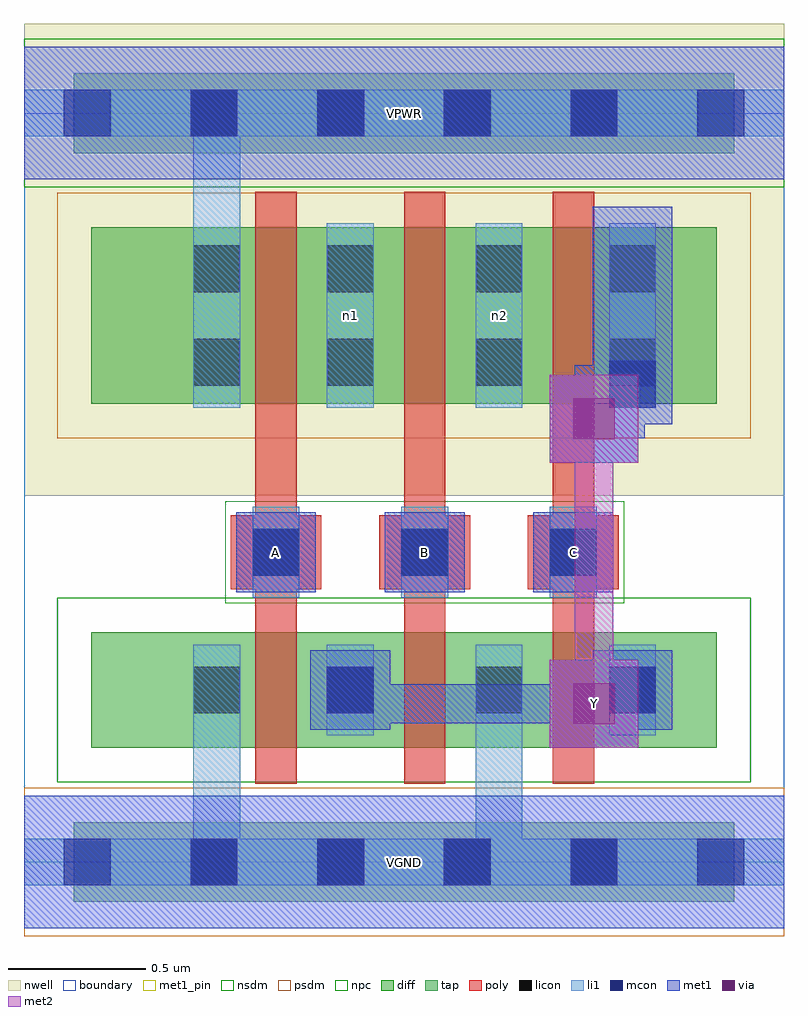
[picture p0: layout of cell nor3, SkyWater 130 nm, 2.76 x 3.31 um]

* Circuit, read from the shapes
.subckt nor3 A B C VGND VPWR Y n1 n2
XM1 Y A VGND VGND sky130_fd_pr__nfet_01v8 w=0.42 l=0.15
XM2 VGND B Y VGND sky130_fd_pr__nfet_01v8 w=0.42 l=0.15
XM3 Y C VGND VGND sky130_fd_pr__nfet_01v8 w=0.42 l=0.15
XM4 n1 A VPWR VPWR sky130_fd_pr__pfet_01v8 w=0.64 l=0.15
XM5 n2 B n1 VPWR sky130_fd_pr__pfet_01v8 w=0.64 l=0.15
XM6 Y C n2 VPWR sky130_fd_pr__pfet_01v8 w=0.64 l=0.15
.ends

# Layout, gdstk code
import gdstk
lib = gdstk.Library(unit=1e-6, precision=1e-09)
def R(c, l, rs):  # rectangles x0, y0, x1, y1
    for r in rs: c.add(gdstk.rectangle(r[:2], r[2:], *l))
def A(c, l, x, y, w, h, nx, ny, dx, dy):  # array of equal rectangles
    R(c, l, [(x+i*dx, y+j*dy, x+i*dx+w, y+j*dy+h) for i in range(nx) for j in range(ny)])
nwell = (64, 20)
diff = (65, 20)
tap = (65, 44)
poly = (66, 20)
licon = (66, 44)
li1 = (67, 20)
mcon = (67, 44)
met1_pin = (68, 16)
met1 = (68, 20)
via = (68, 44)
met2 = (69, 20)
nsdm = (93, 44)
psdm = (94, 20)
npc = (95, 20)
boundary = (235, 4)

nor3 = lib.new_cell('nor3')
R(nor3, nwell, [(0,1.33,2.76,3.045)])
R(nor3, diff, [(0.245,0.415,2.515,0.835), (0.245,1.665,2.515,2.305)])
R(nor3, tap, [(0.18,-0.145,2.58,0.145), (0.18,2.575,2.58,2.865)])
A(nor3, poly, 0.84, 0.285, 0.15, 2.15, 3, 1, 0.54, 0)
A(nor3, poly, 0.75, 0.99, 0.33, 0.27, 3, 1, 0.54, 0)
A(nor3, licon, 0.605, -0.085, 0.17, 0.17, 4, 2, 0.46, 2.72)
A(nor3, licon, 0.83, 1.04, 0.17, 0.17, 3, 1, 0.54, 0)
R(nor3, licon, [(0.615,0.54,0.785,0.71), (1.1,0.54,1.27,0.71), (1.64,0.54,1.81,0.71), (2.125,0.54,2.295,0.71), (0.615,1.73,0.785,1.9), (1.1,1.73,1.27,1.9), (1.64,1.73,1.81,1.9), (2.125,1.73,2.295,1.9), (0.615,2.07,0.785,2.24), (1.1,2.07,1.27,2.24), (1.64,2.07,1.81,2.24), (2.125,2.07,2.295,2.24)])
A(nor3, li1, 0.83, 0.96, 0.17, 0.33, 3, 1, 0.54, 0)
R(nor3, li1, [(0,-0.085,2.76,0.085), (0.615,-0.085,0.785,0.79), (1.64,-0.085,1.81,0.79), (0.615,0.46,0.785,0.79), (1.1,0.46,1.27,0.79), (1.64,0.46,1.81,0.79), (2.125,0.46,2.295,0.79), (0.615,1.65,0.785,2.32), (0.615,1.65,0.785,2.805), (1.1,1.65,1.27,2.32), (1.64,1.65,1.81,2.32), (2.125,1.65,2.295,2.32), (0,2.635,2.76,2.805)])
A(nor3, mcon, 0.145, -0.085, 0.17, 0.17, 6, 2, 0.46, 2.72)
A(nor3, mcon, 0.83, 1.04, 0.17, 0.17, 3, 1, 0.54, 0)
R(nor3, mcon, [(1.1,0.54,1.27,0.71), (2.125,0.54,2.295,0.71), (2.125,1.65,2.295,1.82)])
A(nor3, met1_pin, 0.77, 0.98, 0.29, 0.29, 3, 1, 0.54, 0)
R(nor3, met1_pin, [(0,-0.24,2.76,0.24), (1.91,0.415,2.23,0.735), (0,2.48,2.76,2.96)])
A(nor3, met1, 0.77, 0.98, 0.29, 0.29, 3, 1, 0.54, 0)
R(nor3, met1, [(0,-0.24,2.76,0.24), (1.91,0.415,2.23,0.735), (1.04,0.48,1.33,0.77), (2.065,0.48,2.355,0.77), (1.08,0.505,1.22,0.645), (1.08,0.505,2.255,0.645), (2.115,0.505,2.255,0.645), (1.91,1.45,2.23,1.77), (2,1.54,2.14,1.805), (2,1.54,2.255,1.68), (2.115,1.54,2.255,1.795), (2.065,1.59,2.355,1.88), (2.065,1.59,2.355,2.38), (2.115,1.655,2.255,1.795), (2,1.665,2.28,1.805), (0,2.48,2.76,2.96)])
R(nor3, via, [(1.995,0.5,2.145,0.65), (1.995,1.535,2.145,1.685)])
R(nor3, met2, [(1.91,0.415,2.23,0.735), (2,0.505,2.14,1.68), (1.91,1.45,2.23,1.77)])
R(nor3, nsdm, [(0.12,0.29,2.64,0.96), (0,2.45,2.76,2.99)])
R(nor3, psdm, [(0,-0.27,2.76,0.27), (0.12,1.54,2.64,2.43)])
R(nor3, npc, [(0.73,0.94,2.18,1.31)])
R(nor3, boundary, [(0,0,2.76,2.72)])
nor3.add(gdstk.Label('n1', (1.185,1.985), layer=67, texttype=5))
nor3.add(gdstk.Label('n2', (1.725,1.985), layer=67, texttype=5))
nor3.add(gdstk.Label('A', (0.915,1.125), layer=68, texttype=5))
nor3.add(gdstk.Label('B', (1.455,1.125), layer=68, texttype=5))
nor3.add(gdstk.Label('C', (1.995,1.125), layer=68, texttype=5))
nor3.add(gdstk.Label('Y', (2.07,0.575), layer=68, texttype=5))
nor3.add(gdstk.Label('VPWR', (1.38,2.72), layer=68, texttype=5))
nor3.add(gdstk.Label('VGND', (1.38,0), layer=68, texttype=5))
nor3.add(gdstk.Label('A', (0.915,1.125), layer=68, texttype=16))
nor3.add(gdstk.Label('B', (1.455,1.125), layer=68, texttype=16))
nor3.add(gdstk.Label('C', (1.995,1.125), layer=68, texttype=16))
nor3.add(gdstk.Label('Y', (2.07,0.575), layer=68, texttype=16))
nor3.add(gdstk.Label('VPWR', (1.38,2.72), layer=68, texttype=16))
nor3.add(gdstk.Label('VGND', (1.38,0), layer=68, texttype=16))

lib.write_gds('nor3.gds')
